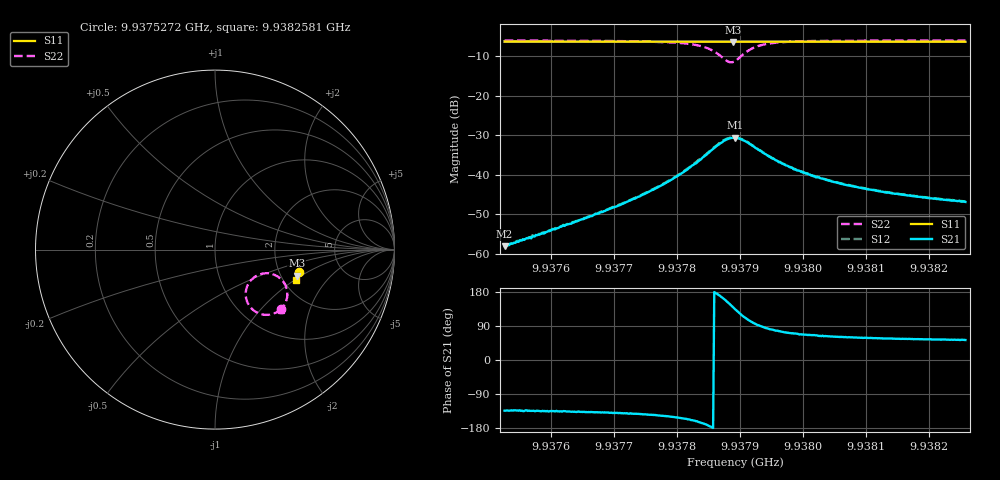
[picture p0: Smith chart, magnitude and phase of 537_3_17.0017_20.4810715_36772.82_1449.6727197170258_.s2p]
#  HZ  S  RI  R  50.00
! Rohde & Schwarz Vector Network Analyzer
! Rohde-Schwarz,ZNB20-2Port,1311601062101988,3.16
! Created: UTC 3/20/2024, 11:16:09 PM
! freq[Hz]  re:S11  im:S11  re:S21  im:S21  re:S12  im:S12  re:S22  im:S22
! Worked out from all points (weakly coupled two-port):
!   401 points, 9.9375272 GHz to 9.9382581 GHz, reference 50 ohm
!   highest |S21| = -30.63 dB at 9.9378927 GHz (marker M1); lowest = -58.0 dB at 9.9375272 GHz (marker M2)
!   lowest |S11| = -6.4 dB at 9.937889 GHz (marker M3), VSWR 2.83, Z = 121 - j45.6 ohm
!   |S11| at or under -10 dB: nowhere
!   |S22| runs from -11.6 to -6.1 dB; largest |S21 - S12| = 0.0013
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9.93752717e9  0.4667 -0.1232  -0.000868 -0.000904  -0.000876 -0.000897  0.3685 -0.3322
9.93764961e9  0.4638 -0.1315  -0.002 -0.00188  -0.00208 -0.00187  0.3523 -0.3443
9.93771539e9  0.4621 -0.136  -0.00333 -0.00273  -0.00344 -0.00277  0.3371 -0.3526
9.93777204e9  0.4605 -0.1398  -0.00587 -0.00391  -0.00604 -0.00389  0.3124 -0.3609
9.93781407e9  0.4591 -0.1429  -0.0102 -0.00469  -0.0105 -0.00466  0.2747 -0.3631
9.93783235e9  0.458 -0.144  -0.0136 -0.00451  -0.0141 -0.00422  0.2466 -0.3565
9.93784697e9  0.4572 -0.1449  -0.0175 -0.00291  -0.018 -0.00277  0.2166 -0.3397
9.93785976e9  0.4563 -0.1455  -0.0219 0.000296  -0.0223 0.000973  0.1878 -0.3078
9.93787255e9  0.4555 -0.1455  -0.0249 0.00689  -0.0255 0.00783  0.1712 -0.2503
9.93788169e9  0.4552 -0.1454  -0.025 0.0135  -0.0249 0.0146  0.1823 -0.1982
9.937889e9  0.4551 -0.1451  -0.0225 0.0187  -0.0224 0.0198  0.2105 -0.1611
9.93789265e9  0.4551 -0.145  -0.0205 0.0211  -0.0201 0.0221  0.2294 -0.1473
9.93790179e9  0.4556 -0.145  -0.0144 0.0242  -0.0138 0.025  0.2825 -0.1319
9.93791458e9  0.4563 -0.1458  -0.00645 0.0242  -0.00566 0.0247  0.3439 -0.1467
9.93793468e9  0.4568 -0.1475  0.000479 0.0197  0.00111 0.0198  0.3897 -0.1938
9.9379694e9  0.4563 -0.1503  0.00378 0.0131  0.00402 0.0132  0.4032 -0.2505
9.9379895e9  0.456 -0.152  0.00402 0.0108  0.00434 0.0108  0.4013 -0.2696
9.93801509e9  0.4552 -0.1538  0.00405 0.00894  0.00432 0.00874  0.397 -0.2861
9.93806808e9  0.4539 -0.1575  0.00367 0.0065  0.00387 0.00653  0.3881 -0.3061
9.93813752e9  0.452 -0.162  0.00326 0.00494  0.00337 0.00493  0.3789 -0.321
9.93820514e9  0.4503 -0.1664  0.00295 0.00408  0.00305 0.0041  0.3718 -0.3304
9.93825813e9  0.4487 -0.17  0.00275 0.00361  0.00286 0.00364  0.3668 -0.3357
